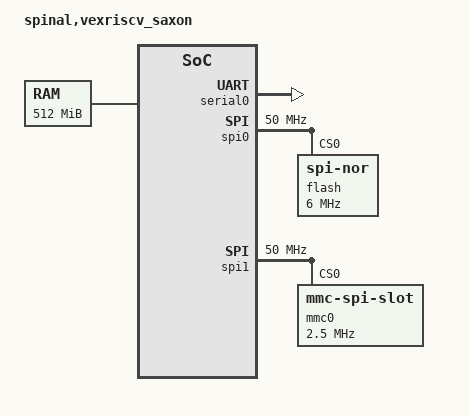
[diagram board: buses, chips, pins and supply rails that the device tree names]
/dts-v1/;

#include <config.h>

/ {
  #address-cells = <1>;
  #size-cells = <1>;
  compatible = "spinal,vexriscv";
  model = "spinal,vexriscv_saxon";

  aliases {
    serial0 = &serial0;
	spi0 = &spi0;
	spi1 = &spi1;
  };

  chosen {
    bootargs = "console=ttyS0,115200n8";
    stdout-path = "serial0:115200n8";
  };

  cpus {
    #address-cells = <1>;
    #size-cells = <0>;
    timebase-frequency = <50000000>;

    cpu@0 {
      device_type = "cpu";
      compatible = "riscv";
      riscv,isa = "rv32im";
      clock-frequency = <50000000>;
      mmu-type = "riscv,sv32";
      reg = <0>;
      i-cache-size = <0x1000>;
      i-cache-line-size = <32>;
      d-cache-size = <0x1000>;
      d-cache-line-size = <32>;
      intc0: interrupt-controller {
          #interrupt-cells = <1>;
          interrupt-controller;
          compatible = "riscv,cpu-intc";
      };
    };
  };

  memory {
    device_type = "memory";
    reg = <0x00001000 0x1FFFF000>;
  };

  serial0: serial@F8010000 {
    device_type = "serial";
    compatible = "riscv_sbi,uart";
  };

  spi0: spi@F8014000 {
    compatible = "vexriscv,spi";
    #address-cells = <1>;
    #size-cells = <0>;
    reg = <0xF8014000 0x1000>;
    cmd_fifo_depth = <256>;
    rsp_fifo_depth = <256>;
    num-cs = <2>;
    clock-frequency = <50000000>;

	flash: flash@0 {
	  #address-cells = <1>;
      #size-cells = <0>;
	  compatible = "jedec,spi-nor";
	  reg = <0>;
	  spi-max-frequency = <6000000>;
	};
  };

  spi1: spi@F8015000 {
    compatible = "vexriscv,spi";
    #address-cells = <1>;
    #size-cells = <0>;
    reg = <0xF8015000 0x1000>;
    cmd_fifo_depth = <256>;
    rsp_fifo_depth = <256>;
    num-cs = <1>;
    clock-frequency = <50000000>;
	mmc0: mmc@1 {
      compatible = "mmc-spi-slot";
      reg = <0>;
      spi-max-frequency = <2500000>;
    };
  };
};
